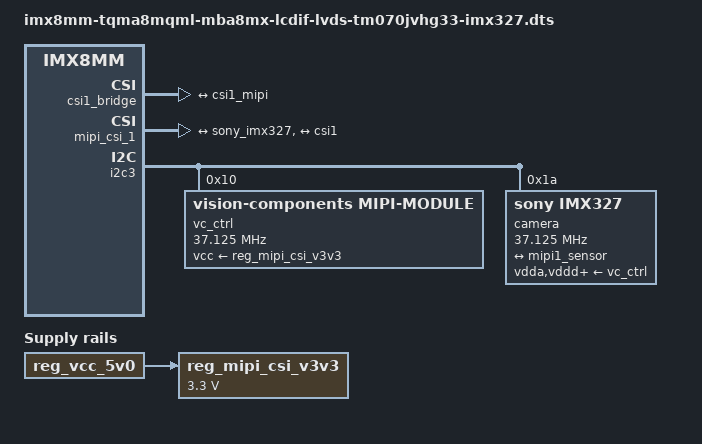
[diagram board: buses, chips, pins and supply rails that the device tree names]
// SPDX-License-Identifier: (GPL-2.0-or-later OR MIT)
/*
 * Copyright (c) 2021-2023 TQ-Systems GmbH <linux@ew.tq-group.com>,
 * D-82229 Seefeld, Germany.
 * Author: Alexander Stein
 */

#include "imx8mm-tqma8mqml-mba8mx-lcdif-lvds-tm070jvhg33.dts"

/ {
	/* This voltage converter is located on the adapter board MBaxCA */
	reg_mipi_csi_v3v3: regulator-mipi-csi-v3v3 {
		compatible = "regulator-fixed";
		regulator-name = "MIPI_CSI_V_3V3";
		regulator-min-microvolt = <3300000>;
		regulator-max-microvolt = <3300000>;
		vin-supply = <&reg_vcc_5v0>;
	};
};

&csi1_bridge {
	fsl,mipi-mode;
	status = "okay";

	port {
		csi1: endpoint {
			remote-endpoint = <&csi1_mipi>;
		};
	};
};

&mipi_csi_1 {
	status = "okay";

	port {
		#address-cells = <1>;
		#size-cells = <0>;

		mipi1_sensor: endpoint@1 {
			reg = <1>;
			remote-endpoint = <&sony_imx327>;
			data-lanes = <2>;
			csis-hs-settle = <13>;
			csis-clk-settle = <2>;
		};

		csi1_mipi: endpoint@2 {
			reg = <2>;
			remote-endpoint = <&csi1>;
		};
	};
};

&i2c3 {
	vc_ctrl: controller@10 {
		compatible = "vision-components,mipi-module";
		reg = <0x10>;
		#clock-cells = <0>;
		vcc-supply = <&reg_mipi_csi_v3v3>;
		clock-frequency = <37125000>;
	};

	camera@1a {
		compatible = "sony,imx327", "sony,imx290";
		reg = <0x1a>;
		clocks = <&vc_ctrl>;
		clock-names = "xclk";
		clock-frequency = <37125000>;
		vdda-supply = <&vc_ctrl>;
		vddd-supply = <&vc_ctrl>;
		vdddo-supply = <&vc_ctrl>;
		orientation = <2>;

		port {
			sony_imx327: endpoint {
				remote-endpoint = <&mipi1_sensor>;
				data-lanes = <1 2>;
				clock-lanes = <0>;
				clock-noncontinuous = <1>;
				link-frequencies = /bits/ 64 <445500000 297000000>;
			};
		};
	};
};
